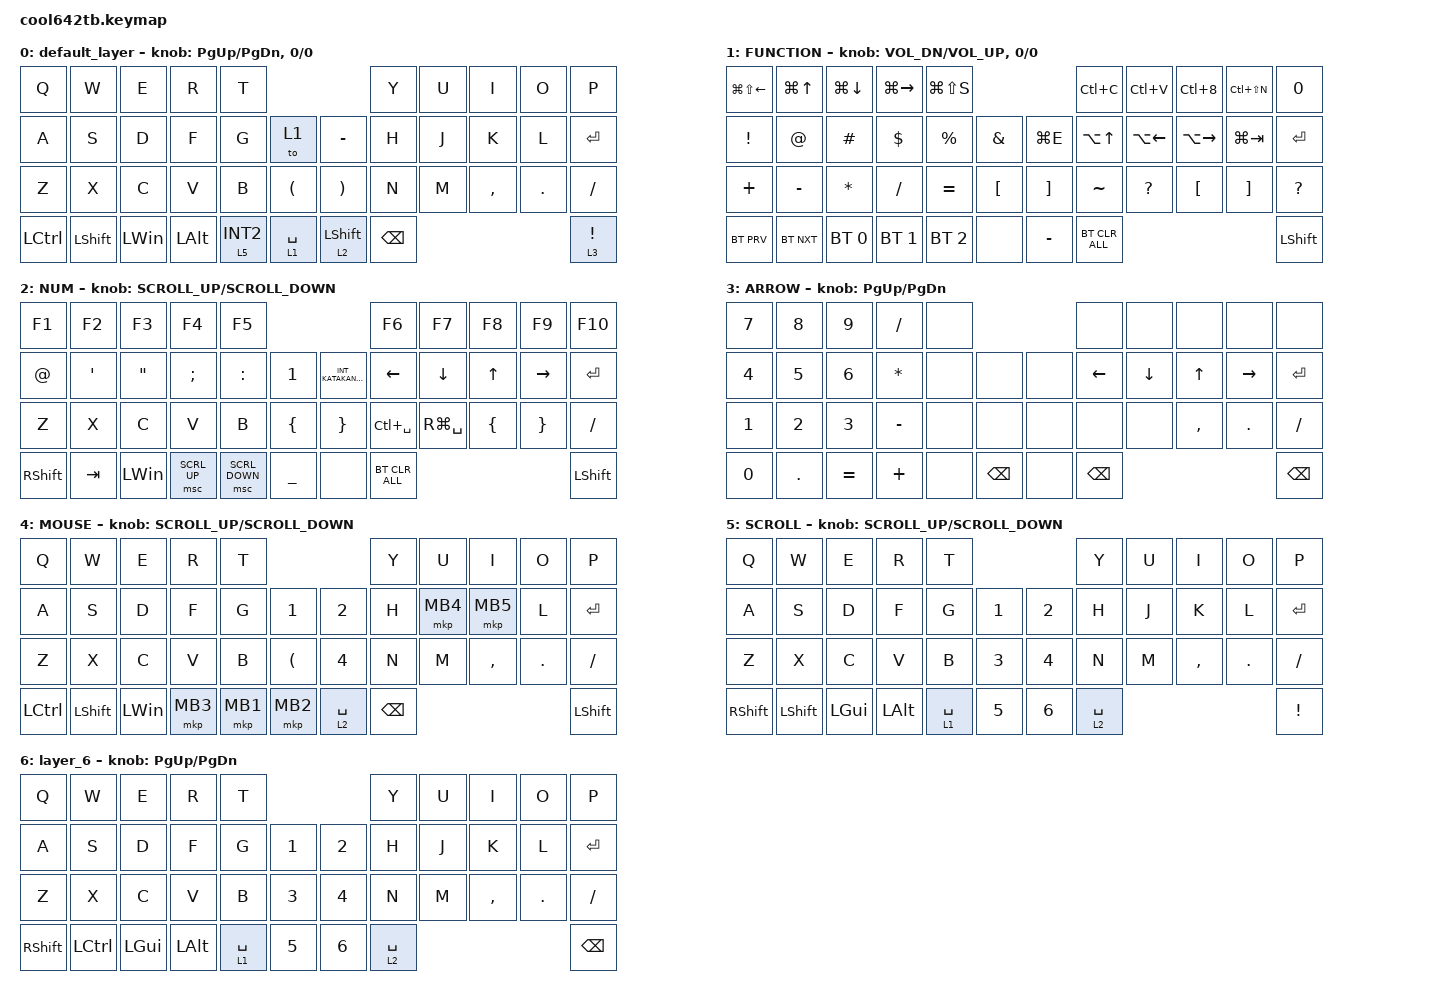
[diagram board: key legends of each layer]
#define ZMK_POINTING_DEFAULT_SCRL_VAL 3   /* ← 好みで 3〜5 に調整 */

#include <behaviors.dtsi>
#include <dt-bindings/zmk/bt.h>
#include <dt-bindings/zmk/keys.h>
#include <dt-bindings/zmk/pointing.h>

#define MOUSE 4
#define SCROLL 5
#define NUM 6

&mt {
    flavor = "balanced";
    quick-tap-ms = <0>;
};

/ {
    combos {
        compatible = "zmk,combos";

        comb1 {
            bindings = <&kp TAB>;
            key-positions = <11 10>;
        };

        comb2 {
            bindings = <&kp LS(ESCAPE)>;
            key-positions = <0 1>;
        };

        comb3 {
            bindings = <&kp CAPSLOCK>;
            key-positions = <22 23>;
        };

        comb4 {
            bindings = <&kp BACKSPACE>;
            key-positions = <18 19>;
        };

        comb5 {
            bindings = <&kp DELETE>;
            key-positions = <9 8>;
            timeout-ms = <0>;
            layers = <2>;
        };
    };

    macros {
        to_layer_0: to_layer_0 {
            compatible = "zmk,behavior-macro-one-param";
            #binding-cells = <1>;
            bindings = <&to 0 &macro_param_1to1 &kp MACRO_PLACEHOLDER>;
            label = "TO_LAYER_0";
        };
    };

    behaviors {
        lt_to_layer_0: lt_to_layer_0 {
            compatible = "zmk,behavior-hold-tap";
            label = "LAYER_TAP_TO_0";
            bindings = <&mo>, <&to_layer_0>;

            #binding-cells = <2>;
            tapping-term-ms = <200>;
        };
    };

    keymap {
        compatible = "zmk,keymap";

        default_layer {
            bindings = <
&kp Q             &kp W           &kp E         &kp R         &kp T                                                    &kp Y          &kp U  &kp I      &kp O       &kp P
&kp A             &kp S           &kp D         &kp F         &kp G       &to 1                 &kp MINUS              &kp H          &kp J  &kp K      &kp L       &kp ENTER
&kp Z             &kp X           &kp C         &kp V         &kp B       &kp LEFT_PARENTHESIS  &kp RIGHT_PARENTHESIS  &kp N          &kp M  &kp COMMA  &kp PERIOD  &kp SLASH
&kp LEFT_CONTROL  &kp LEFT_SHIFT  &kp LEFT_WIN  &kp LEFT_ALT  &lt 5 INT2  &lt 1 SPACE           &lt 2 LEFT_SHIFT       &kp BACKSPACE                                &lt 3 EXCLAMATION
            >;

            sensor-bindings =
                <&inc_dec_kp PAGE_UP PAGE_DOWN>,
                <&inc_dec_kp 0 0>;
        };

        FUNCTION {
            bindings = <
&kp LG(LS(LEFT))  &kp LG(UP_ARROW)  &kp LG(DOWN_ARROW)  &kp LG(RIGHT)  &kp LG(LS(S))                                       &kp LC(C)         &kp LC(V)     &kp LC(N8)        &kp LC(LS(N))      &kp N0
&kp EXCLAMATION   &kp AT_SIGN       &kp HASH            &kp DOLLAR     &kp PERCENT    &kp AMPERSAND     &kp LG(E)          &kp LA(UP_ARROW)  &kp LA(LEFT)  &kp LA(RIGHT)     &kp LG(TAB)        &kp ENTER
&kp PLUS          &kp MINUS         &kp ASTERISK        &kp SLASH      &kp EQUAL      &kp LEFT_BRACKET  &kp RIGHT_BRACKET  &kp TILDE         &kp QUESTION  &kp LEFT_BRACKET  &kp RIGHT_BRACKET  &kp QUESTION
&bt BT_PRV        &bt BT_NXT        &bt BT_SEL 0        &bt BT_SEL 1   &bt BT_SEL 2   &none             &kp MINUS          &bt BT_CLR_ALL                                                       &kp LEFT_SHIFT
            >;

            sensor-bindings =
                <&inc_dec_kp C_VOL_DN C_VOL_UP>,
                <&inc_dec_kp 0 0>;
        };

        NUM {
            bindings = <
&kp F1       &kp F2   &kp F3             &kp F4         &kp F5                                                    &kp F6          &kp F7          &kp F8          &kp F9           &kp F10
&kp AT_SIGN  &kp SQT  &kp DOUBLE_QUOTES  &kp SEMICOLON  &kp COLON       &kp N1          &kp INT_KATAKANAHIRAGANA  &kp LEFT        &kp DOWN_ARROW  &kp UP_ARROW    &kp RIGHT        &kp ENTER
&kp Z        &kp X    &kp C              &kp V          &kp B           &kp LEFT_BRACE  &kp RIGHT_BRACE           &kp LC(SPACE)   &kp RG(SPACE)   &kp LEFT_BRACE  &kp RIGHT_BRACE  &kp SLASH
&kp RSHIFT   &kp TAB  &kp LEFT_WIN       &msc SCRL_UP   &msc SCRL_DOWN  &kp UNDERSCORE  &none                     &bt BT_CLR_ALL                                                   &kp LEFT_SHIFT
            >;

            sensor-bindings = <&inc_dec_kp K_SCROLL_UP K_SCROLL_DOWN>;
        };

        ARROW {
            bindings = <
&kp N7        &kp N8   &kp N9        &kp SLASH     &none                        &none          &none     &none         &none       &none
&kp NUMBER_4  &kp N5   &kp NUMBER_6  &kp ASTERISK  &none  &none          &none  &kp LEFT       &kp DOWN  &kp UP_ARROW  &kp RIGHT   &kp ENTER
&kp NUMBER_1  &kp N2   &kp N3        &kp MINUS     &none  &none          &none  &none          &none     &kp COMMA     &kp PERIOD  &kp SLASH
&kp N0        &kp DOT  &kp EQUAL     &kp PLUS      &none  &kp BACKSPACE  &none  &kp BACKSPACE                                      &kp BSPC
            >;

            sensor-bindings = <&inc_dec_kp PG_UP PAGE_DOWN>;
        };

        MOUSE {
            bindings = <
&kp Q      &kp W           &kp E         &kp R     &kp T                                        &kp Y          &kp U     &kp I      &kp O       &kp P
&kp A      &kp S           &kp D         &kp F     &kp G     &kp N1                &kp N2       &kp H          &mkp MB4  &mkp MB5   &kp L       &kp ENTER
&kp Z      &kp X           &kp C         &kp V     &kp B     &kp LEFT_PARENTHESIS  &kp N4       &kp N          &kp M     &kp COMMA  &kp PERIOD  &kp SLASH
&kp LCTRL  &kp LEFT_SHIFT  &kp LEFT_WIN  &mkp MB3  &mkp MB1  &mkp MB2              &lt 2 SPACE  &kp BACKSPACE                                   &kp LEFT_SHIFT
            >;

            sensor-bindings = <&inc_dec_kp K_SCROLL_UP K_SCROLL_DOWN>;
        };

        SCROLL {
            bindings = <
&kp Q       &kp W      &kp E     &kp R     &kp T                        &kp Y        &kp U  &kp I      &kp O       &kp P
&kp A       &kp S      &kp D     &kp F     &kp G        &kp N1  &kp N2  &kp H        &kp J  &kp K      &kp L       &kp ENTER
&kp Z       &kp X      &kp C     &kp V     &kp B        &kp N3  &kp N4  &kp N        &kp M  &kp COMMA  &kp PERIOD  &kp SLASH
&kp RSHIFT  &kp LSHFT  &kp LGUI  &kp LALT  &lt 1 SPACE  &kp N5  &kp N6  &lt 2 SPACE                                &kp EXCLAMATION
            >;

            sensor-bindings = <&inc_dec_kp K_SCROLL_UP K_SCROLL_DOWN>;
        };

        layer_6 {
            bindings = <
&kp Q       &kp W      &kp E     &kp R     &kp T                        &kp Y        &kp U  &kp I      &kp O       &kp P
&kp A       &kp S      &kp D     &kp F     &kp G        &kp N1  &kp N2  &kp H        &kp J  &kp K      &kp L       &kp ENTER
&kp Z       &kp X      &kp C     &kp V     &kp B        &kp N3  &kp N4  &kp N        &kp M  &kp COMMA  &kp PERIOD  &kp SLASH
&kp RSHIFT  &kp LCTRL  &kp LGUI  &kp LALT  &lt 1 SPACE  &kp N5  &kp N6  &lt 2 SPACE                                &kp BSPC
            >;

            sensor-bindings = <&inc_dec_kp PG_UP PAGE_DOWN>;
        };
    };
};
